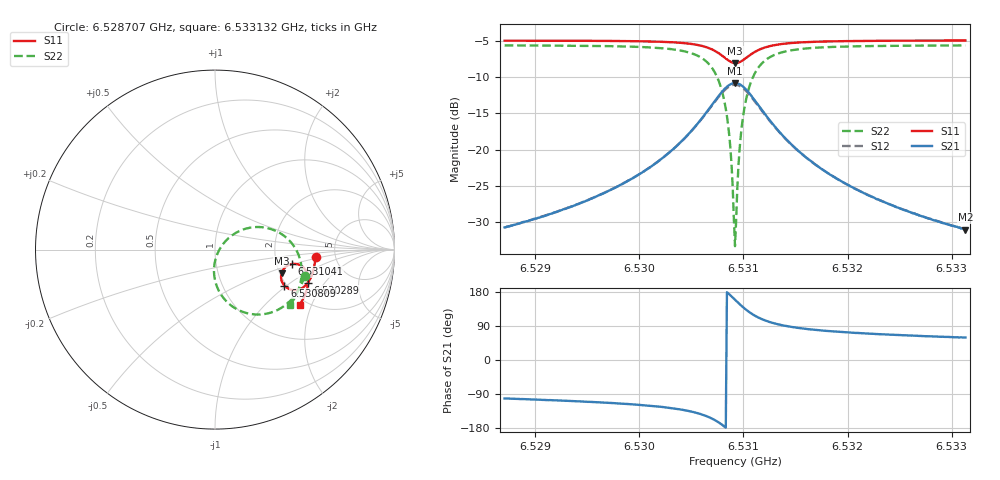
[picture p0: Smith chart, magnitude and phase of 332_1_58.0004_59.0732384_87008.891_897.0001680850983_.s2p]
#  HZ  S  RI  R  50.00
! Rohde & Schwarz Vector Network Analyzer
! Rohde-Schwarz,ZNB20-2Port,1311601062101988,3.16
! Created: UTC 3/21/2024, 1:05:08 AM
! freq[Hz]  re:S11  im:S11  re:S21  im:S21  re:S12  im:S12  re:S22  im:S22
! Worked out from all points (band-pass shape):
!   401 points, 6.528707 GHz to 6.533132 GHz, reference 50 ohm
!   highest |S21| = -10.83 dB at 6.530919 GHz (marker M1); lowest = -31.0 dB at 6.533132 GHz (marker M2)
!   |S21| within 3 dB of the highest: 6.530699 GHz to 6.531141 GHz (442.6 kHz wide, 0.00678 % of centre)
!   lowest |S11| = -8.1 dB at 6.530919 GHz (marker M3), VSWR 2.30, Z = 102 - j31.9 ohm
!   |S11| at or under -10 dB: nowhere
!   |S22| runs from -33.3 to -5.7 dB; largest |S21 - S12| = 0.011
!   S11 on the Smith chart (normalised r, x): 6.528707 GHz: 3.50, -0.43; 6.530289 GHz: 2.61, -1.39; 6.530809 GHz: 1.95, -0.97; 6.531041 GHz: 2.43, -0.48; 6.533132 GHz: 1.83, -1.65
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6.5287067e9  0.56 -0.0416  -0.00586 -0.0286  -0.00631 -0.0285  0.5003 -0.146
6.5294479e9  0.5511 -0.1023  -0.0144 -0.0409  -0.0154 -0.0406  0.4719 -0.2134
6.5301891e9  0.5247 -0.1738  -0.0456 -0.0703  -0.0476 -0.0692  0.3957 -0.3064
6.5302887e9  0.5169 -0.1854  -0.0564 -0.0772  -0.0585 -0.0756  0.3729 -0.3225
6.5306427e9  0.4545 -0.2251  -0.1522 -0.0955  -0.1544 -0.0895  0.1905 -0.3571
6.5307423e9  0.4156 -0.2208  -0.2123 -0.0722  -0.2121 -0.0636  0.0877 -0.3097
6.5308087e9  0.3869 -0.2011  -0.2552 -0.0283  -0.2512 -0.0189  0.0209 -0.2289
6.5308418e9  0.3754 -0.1842  -0.2708 0.00539  -0.2648 0.0141  -0.000185 -0.1702
6.530864e9  0.3701 -0.1705  -0.2766 0.0317  -0.2691 0.0392  -0.00568 -0.1259
6.5308972e9  0.3681 -0.1474  -0.276 0.0741  -0.267 0.0796  0.00227 -0.0554
6.5309082e9  0.369 -0.1395  -0.273 0.0883  -0.2636 0.0931  0.00957 -0.0325
6.5309193e9  0.3707 -0.1318  -0.2685 0.1024  -0.2588 0.1061  0.0191 -0.0103
6.5309303e9  0.3734 -0.1243  -0.2625 0.1158  -0.2527 0.1188  0.0309 0.0108
6.5309414e9  0.3769 -0.1171  -0.2556 0.1288  -0.2458 0.1307  0.0447 0.0308
6.5309635e9  0.3858 -0.1043  -0.2378 0.1515  -0.2287 0.1519  0.0771 0.0654
6.5309857e9  0.3968 -0.094  -0.2171 0.1696  -0.2087 0.1689  0.1144 0.0924
6.531041e9  0.4281 -0.0803  -0.1604 0.1949  -0.1546 0.1922  0.2128 0.1246
6.5311184e9  0.4665 -0.0838  -0.0928 0.193  -0.0897 0.1905  0.3263 0.1092
6.5312291e9  0.499 -0.1063  -0.0357 0.1637  -0.0342 0.1621  0.4191 0.0456
6.5316605e9  0.5204 -0.1818  0.0138 0.0811  0.0148 0.0807  0.4833 -0.1305
6.5324017e9  0.5003 -0.2546  0.0165 0.0388  0.0171 0.0387  0.4556 -0.2457
6.5331319e9  0.4722 -0.308  0.0144 0.0243  0.0151 0.0241  0.4202 -0.3078
